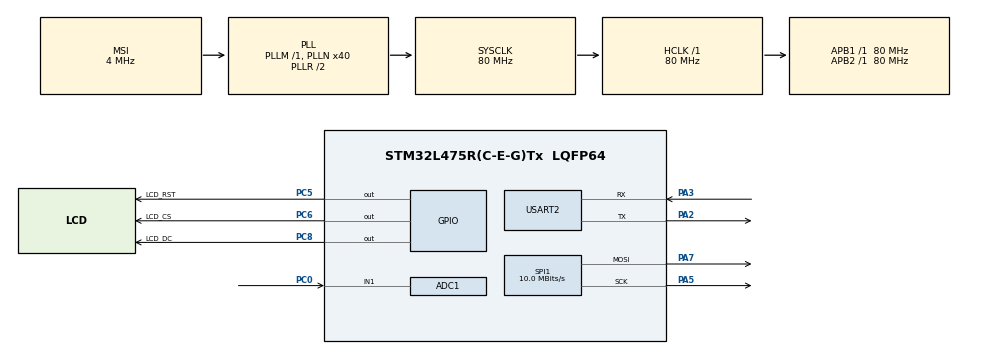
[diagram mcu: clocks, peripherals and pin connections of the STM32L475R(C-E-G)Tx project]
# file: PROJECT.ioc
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ADC1.Channel-0\#ChannelRegularConversion=ADC_CHANNEL_1
ADC1.ContinuousConvMode=ENABLE
ADC1.NbrOfConversion=1
ADC1.NbrOfConversionFlag=1
ADC1.OffsetNumber-0\#ChannelRegularConversion=ADC_OFFSET_NONE
ADC1.Overrun=ADC_OVR_DATA_OVERWRITTEN
ADC1.OversamplingMode=DISABLE
ADC1.SamplingTime-0\#ChannelRegularConversion=ADC_SAMPLETIME_2CYCLES_5
ADC1.master=1
Mcu.Family=STM32L4
Mcu.Name=STM32L475R(C-E-G)Tx
Mcu.Package=LQFP64
NVIC.PriorityGroup=NVIC_PRIORITYGROUP_4
PA13\ (JTMS-SWDIO).Mode=Serial_Wire
PA13\ (JTMS-SWDIO).Signal=SYS_JTMS-SWDIO
PA14\ (JTCK-SWCLK).Mode=Serial_Wire
PA14\ (JTCK-SWCLK).Signal=SYS_JTCK-SWCLK
PA2.Mode=Asynchronous
PA2.Signal=USART2_TX
PA3.Mode=Asynchronous
PA3.Signal=USART2_RX
PA5.Mode=TX_Only_Simplex_Unidirect_Master
PA5.Signal=SPI1_SCK
PA7.Mode=TX_Only_Simplex_Unidirect_Master
PA7.Signal=SPI1_MOSI
PC0.Signal=ADCx_IN1
PC5.GPIO_Label=LCD_RST
PC5.PinState=GPIO_PIN_RESET
PC5.Signal=GPIO_Output
PC6.GPIO_Label=LCD_CS
PC6.PinState=GPIO_PIN_SET
PC6.Signal=GPIO_Output
PC8.GPIO_Label=LCD_DC
PC8.Signal=GPIO_Output
ProjectManager.HeapSize=0x200
ProjectManager.StackSize=0x400
ProjectManager.TargetToolchain=STM32CubeIDE
RCC.ADCFreq_Value=32000000
RCC.AHBFreq_Value=80000000
RCC.APB1Freq_Value=80000000
RCC.APB1TimFreq_Value=80000000
RCC.APB2Freq_Value=80000000
RCC.APB2TimFreq_Value=80000000
RCC.CortexFreq_Value=80000000
RCC.HCLKFreq_Value=80000000
RCC.HSE_VALUE=8000000
RCC.HSI_VALUE=16000000
RCC.LSE_VALUE=32768
RCC.MSI_VALUE=4000000
RCC.PLLN=40
RCC.PLLSAI1N=16
RCC.SYSCLKFreq_VALUE=80000000
RCC.SYSCLKSource=RCC_SYSCLKSOURCE_PLLCLK
RCC.USBFreq_Value=32000000
RCC.VCOOutputFreq_Value=160000000
SH.ADCx_IN1.0=ADC1_IN1,IN1-Single-Ended
SPI1.BaudRatePrescaler=SPI_BAUDRATEPRESCALER_8
SPI1.CalculateBaudRate=10.0 MBits/s
SPI1.DataSize=SPI_DATASIZE_8BIT
SPI1.Direction=SPI_DIRECTION_2LINES
SPI1.Mode=SPI_MODE_MASTER
SPI1.VirtualType=VM_MASTER
USART2.VirtualMode-Asynchronous=VM_ASYNC
board=custom

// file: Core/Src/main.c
/* USER CODE BEGIN Header */
/**
  ******************************************************************************
  * @file           : main.c
  * @brief          : Main program body
  ******************************************************************************
  * @attention
  *
  * Copyright (c) 2023 STMicroelectronics.
  * All rights reserved.
  *
  * This software is licensed under terms that can be found in the LICENSE file
  * in the root directory of this software component.
  * If no LICENSE file comes with this software, it is provided AS-IS.
  *
  ******************************************************************************
  */
/* USER CODE END Header */
#include "main.h"
#include "adc.h"
#include "spi.h"
#include "usart.h"
#include "gpio.h"

/* USER CODE BEGIN Includes */
#include "lcd.h"
#include <stdio.h>
#include "SensorGraph.h"
/* USER CODE END Includes */

/* USER CODE BEGIN PD */
#define ADC_SRES_RATIO (4096/COLUMN_PIXELS)
/* USER CODE END PD */

void SystemClock_Config(void);

int main(void)
{

  /* MCU Configuration--------------------------------------------------------*/

  /* Reset of all peripherals, Initializes the Flash interface and the Systick. */
  HAL_Init();

  /* Configure the system clock */
  SystemClock_Config();

  /* Initialize all configured peripherals */
  MX_GPIO_Init();
  MX_ADC1_Init();
  MX_USART2_UART_Init();
  MX_SPI1_Init();
  /* USER CODE BEGIN 2 */
  graph_handle graph1;
  graph_handle graph2;

  graph1.graph_start_X = 10;
  graph1.graph_start_Y = 10;
  graph1.graph_width = 160-30;
  graph1.graph_height = 64-15;
  graph1.column_nr = 0;
  graph1.border_width = 1;

  graph2.graph_start_X = 15;
  graph2.graph_start_Y = 64+5;
  graph2.graph_width = 60;
  graph2.graph_height = 50;
  graph2.column_nr = 0;
  graph2.border_width = 1;
  /* USER CODE END 2 */

  /* Infinite loop */
  /* USER CODE BEGIN WHILE */

  lcd_init();
  HAL_ADCEx_Calibration_Start(&hadc1, ADC_SINGLE_ENDED);
  HAL_ADC_Start(&hadc1);

  lcd_box_fill(0, 0, 160, 128, WHITE);
  set_background();
  uint16_t ADC_value;

  set_graph_window(&graph1);
  set_graph_window(&graph2);

  int i = HAL_GetTick();
  int j = HAL_GetTick();
  while (1)
  {
	  ADC_value = HAL_ADC_GetValue(&hadc1);

	  if( (HAL_GetTick()-i > 40) ){
		  graph(&graph1 ,ADC_value, 4100);

		  i = HAL_GetTick();
	  }

	  if( (HAL_GetTick()-j > 60) ){
		  graph(&graph2 ,ADC_value, 4100);

		  j = HAL_GetTick();
	  }
//	  if( (HAL_GetTick()-j > 1000) ){
//		  lcd_print_char(140, 100, c);
//		  j = HAL_GetTick();
//
//		  c++;
//		  if(c>'9') c='0';
//	  }

	  lcd_print_char(140, 100, '9');
	  lcd_print_char(120, 100, '1');

    /* USER CODE END WHILE */

  }
}

void SystemClock_Config(void)
{
  RCC_OscInitTypeDef RCC_OscInitStruct = {0};
  RCC_ClkInitTypeDef RCC_ClkInitStruct = {0};

  /** Configure the main internal regulator output voltage
  */
  if (HAL_PWREx_ControlVoltageScaling(PWR_REGULATOR_VOLTAGE_SCALE1) != HAL_OK)
  {
    Error_Handler();
  }

  /** Initializes the RCC Oscillators according to the specified parameters
  * in the RCC_OscInitTypeDef structure.
  */
  RCC_OscInitStruct.OscillatorType = RCC_OSCILLATORTYPE_MSI;
  RCC_OscInitStruct.MSIState = RCC_MSI_ON;
  RCC_OscInitStruct.MSICalibrationValue = 0;
  RCC_OscInitStruct.MSIClockRange = RCC_MSIRANGE_6;
  RCC_OscInitStruct.PLL.PLLState = RCC_PLL_ON;
  RCC_OscInitStruct.PLL.PLLSource = RCC_PLLSOURCE_MSI;
  RCC_OscInitStruct.PLL.PLLM = 1;
  RCC_OscInitStruct.PLL.PLLN = 40;
  RCC_OscInitStruct.PLL.PLLP = RCC_PLLP_DIV7;
  RCC_OscInitStruct.PLL.PLLQ = RCC_PLLQ_DIV2;
  RCC_OscInitStruct.PLL.PLLR = RCC_PLLR_DIV2;
  if (HAL_RCC_OscConfig(&RCC_OscInitStruct) != HAL_OK)
  {
    Error_Handler();
  }

  /** Initializes the CPU, AHB and APB buses clocks
  */
  RCC_ClkInitStruct.ClockType = RCC_CLOCKTYPE_HCLK|RCC_CLOCKTYPE_SYSCLK
                              |RCC_CLOCKTYPE_PCLK1|RCC_CLOCKTYPE_PCLK2;
  RCC_ClkInitStruct.SYSCLKSource = RCC_SYSCLKSOURCE_PLLCLK;
  RCC_ClkInitStruct.AHBCLKDivider = RCC_SYSCLK_DIV1;
  RCC_ClkInitStruct.APB1CLKDivider = RCC_HCLK_DIV1;
  RCC_ClkInitStruct.APB2CLKDivider = RCC_HCLK_DIV1;

  if (HAL_RCC_ClockConfig(&RCC_ClkInitStruct, FLASH_LATENCY_4) != HAL_OK)
  {
    Error_Handler();
  }
}

void Error_Handler(void)
{
  __disable_irq();
  while (1)
  {
  }
}
